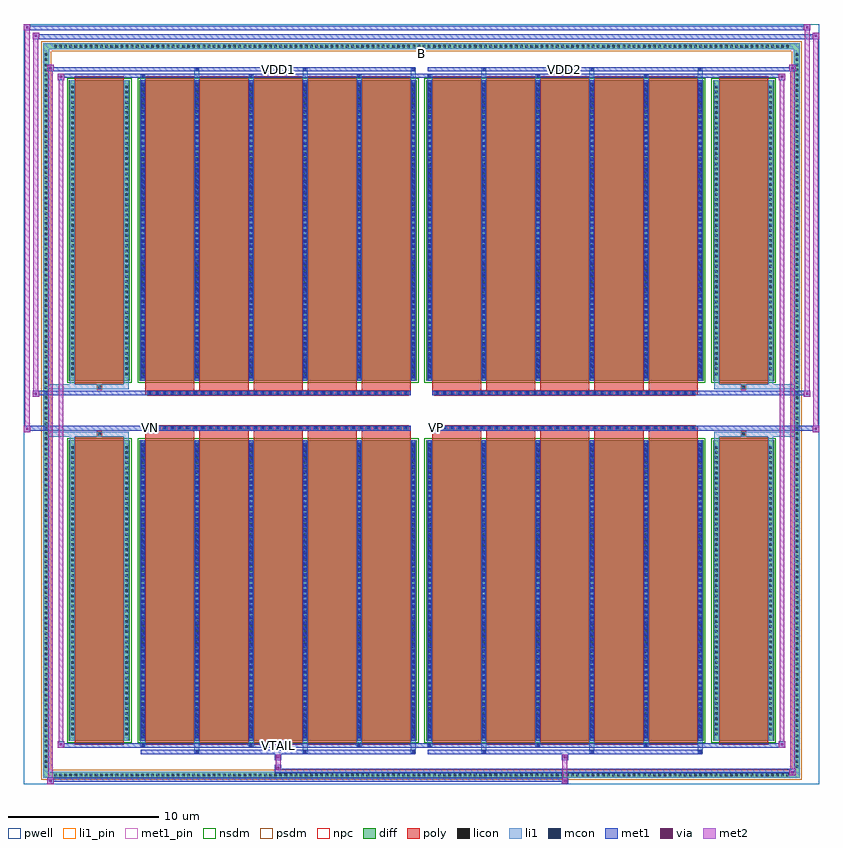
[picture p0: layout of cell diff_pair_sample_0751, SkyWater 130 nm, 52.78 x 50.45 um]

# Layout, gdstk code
import gdstk
lib = gdstk.Library(unit=1e-6, precision=5e-09)
def R(c, l, rs):  # rectangles x0, y0, x1, y1
    for r in rs: c.add(gdstk.rectangle(r[:2], r[2:], *l))
def A(c, l, x, y, w, h, nx, ny, dx, dy):  # array of equal rectangles
    R(c, l, [(x+i*dx, y+j*dy, x+i*dx+w, y+j*dy+h) for i in range(nx) for j in range(ny)])
def P(c, l, *ps):  # polygons
    for p in ps: c.add(gdstk.Polygon(p, *l))
pwell = (64, 44)
diff = (65, 20)
poly = (66, 20)
licon = (66, 44)
li1_pin = (67, 16)
li1 = (67, 20)
mcon = (67, 44)
met1_pin = (68, 16)
met1 = (68, 20)
via = (68, 44)
met2 = (69, 20)
nsdm = (93, 44)
psdm = (94, 20)
npc = (95, 20)

diff_pair_sample_0751 = lib.new_cell('diff_pair_sample_0751')
R(diff_pair_sample_0751, pwell, [(-26.39,-24.79,26.39,25.66), (-23.71,-22.98,-0.01,-0.8), (0.01,-22.98,23.71,-0.8), (-23.71,0.8,-0.01,22.98), (0.01,0.8,23.71,22.98)])
A(diff_pair_sample_0751, diff, -24.515, -24.39, 0.41, 0.41, 144, 2, 0.34, 48.37)
A(diff_pair_sample_0751, diff, -25.12, -23.835, 0.41, 0.41, 1, 140, 0, 0.34)
A(diff_pair_sample_0751, diff, 24.71, -23.835, 0.41, 0.41, 1, 140, 0, 0.34)
R(diff_pair_sample_0751, diff, [(-24.515,-24.39,24.515,-23.98), (-25.12,-23.835,-24.71,23.835), (24.71,-23.835,25.12,23.835), (-23.4,-21.935,-19.36,-1.985), (-18.72,-21.935,-0.32,-1.985), (0.32,-21.935,18.72,-1.985), (19.36,-21.935,23.4,-1.985), (-23.4,1.985,-19.36,21.935), (-18.72,1.985,-0.32,21.935), (0.32,1.985,18.72,21.935), (19.36,1.985,23.4,21.935), (-24.515,23.98,24.515,24.39)])
P(diff_pair_sample_0751, diff, [(25.12,24.39),(-25.12,24.39),(-25.12,-23.98),(-24.71,-23.98),(-24.71,23.98),(24.71,23.98),(24.71,-23.98),(-24.71,-23.98),(-25.12,-23.98),(-25.12,-24.39),(25.12,-24.39)])
A(diff_pair_sample_0751, poly, -18.33, -22.185, 3.26, 20.45, 5, 2, 3.59, 23.92)
A(diff_pair_sample_0751, poly, 0.71, -22.185, 3.26, 20.45, 5, 2, 3.59, 23.92)
A(diff_pair_sample_0751, poly, -18.33, -1.735, 3.26, 0.405, 5, 2, 3.59, 3.065)
A(diff_pair_sample_0751, poly, 0.71, -1.735, 3.26, 0.405, 5, 2, 3.59, 3.065)
A(diff_pair_sample_0751, poly, -18.185, -1.33, 0.33, 0.33, 35, 2, 0.5, 2.33)
A(diff_pair_sample_0751, poly, 0.855, -1.33, 0.33, 0.33, 35, 2, 0.5, 2.33)
R(diff_pair_sample_0751, poly, [(-23.01,-22.185,-19.75,-1.735), (19.75,-22.185,23.01,-1.735), (-21.545,-1.735,-21.215,-1.405), (-21.545,-1.735,-21.215,-1.405), (21.215,-1.735,21.545,-1.405), (21.215,-1.735,21.545,-1.405), (-18.33,-1.33,-0.71,-1), (0.71,-1.33,18.33,-1), (-18.33,1,-0.71,1.33), (0.71,1,18.33,1.33), (-21.545,1.405,-21.215,1.735), (-21.545,1.405,-21.215,1.735), (21.215,1.405,21.545,1.735), (21.215,1.405,21.545,1.735), (-23.01,1.735,-19.75,22.185), (19.75,1.735,23.01,22.185)])
A(diff_pair_sample_0751, licon, -24.395, -24.27, 0.17, 0.17, 144, 2, 0.34, 48.37)
A(diff_pair_sample_0751, licon, -25, -23.715, 0.17, 0.17, 1, 140, 0, 0.34)
A(diff_pair_sample_0751, licon, 24.83, -23.715, 0.17, 0.17, 1, 140, 0, 0.34)
A(diff_pair_sample_0751, licon, -23.26, -21.565, 0.17, 0.17, 1, 57, 0, 0.34)
A(diff_pair_sample_0751, licon, -19.67, -21.565, 0.17, 0.17, 1, 57, 0, 0.34)
A(diff_pair_sample_0751, licon, -18.58, -21.565, 0.17, 0.17, 6, 57, 3.59, 0.34)
A(diff_pair_sample_0751, licon, 0.46, -21.565, 0.17, 0.17, 6, 57, 3.59, 0.34)
A(diff_pair_sample_0751, licon, 19.5, -21.565, 0.17, 0.17, 1, 57, 0, 0.34)
A(diff_pair_sample_0751, licon, 23.09, -21.565, 0.17, 0.17, 1, 57, 0, 0.34)
A(diff_pair_sample_0751, licon, -18.105, -1.25, 0.17, 0.17, 35, 2, 0.5, 2.33)
A(diff_pair_sample_0751, licon, 0.935, -1.25, 0.17, 0.17, 35, 2, 0.5, 2.33)
A(diff_pair_sample_0751, licon, -23.26, 2.355, 0.17, 0.17, 1, 57, 0, 0.34)
A(diff_pair_sample_0751, licon, -19.67, 2.355, 0.17, 0.17, 1, 57, 0, 0.34)
A(diff_pair_sample_0751, licon, -18.58, 2.355, 0.17, 0.17, 6, 57, 3.59, 0.34)
A(diff_pair_sample_0751, licon, 0.46, 2.355, 0.17, 0.17, 6, 57, 3.59, 0.34)
A(diff_pair_sample_0751, licon, 19.5, 2.355, 0.17, 0.17, 1, 57, 0, 0.34)
A(diff_pair_sample_0751, licon, 23.09, 2.355, 0.17, 0.17, 1, 57, 0, 0.34)
R(diff_pair_sample_0751, licon, [(-21.465,-1.655,-21.295,-1.485), (21.295,-1.655,21.465,-1.485), (-21.465,1.485,-21.295,1.655), (21.295,1.485,21.465,1.655)])
R(diff_pair_sample_0751, li1_pin, [(-0.25,23.48,0.25,23.98)])
A(diff_pair_sample_0751, li1, -24.475, -24.35, 0.33, 0.33, 144, 2, 0.34, 48.37)
A(diff_pair_sample_0751, li1, -25.08, -23.795, 0.33, 0.33, 1, 140, 0, 0.34)
A(diff_pair_sample_0751, li1, 24.75, -23.795, 0.33, 0.33, 1, 140, 0, 0.34)
A(diff_pair_sample_0751, li1, -15.07, -22.74, 0.33, 0.805, 3, 2, 7.18, 44.675)
A(diff_pair_sample_0751, li1, -14.99, -22.74, 0.17, 0.17, 3, 2, 7.18, 45.31)
A(diff_pair_sample_0751, li1, 3.97, -22.74, 0.33, 0.805, 3, 2, 7.18, 44.675)
A(diff_pair_sample_0751, li1, 4.05, -22.74, 0.17, 0.17, 3, 2, 7.18, 45.31)
A(diff_pair_sample_0751, li1, -18.66, -22.31, 0.33, 0.375, 3, 2, 7.18, 44.245)
A(diff_pair_sample_0751, li1, -18.58, -22.31, 0.17, 0.17, 3, 2, 7.18, 44.45)
A(diff_pair_sample_0751, li1, 0.38, -22.31, 0.33, 0.375, 3, 2, 7.18, 44.245)
A(diff_pair_sample_0751, li1, 0.46, -22.31, 0.17, 0.17, 3, 2, 7.18, 44.45)
A(diff_pair_sample_0751, li1, -18.66, -21.935, 0.33, 19.95, 6, 2, 3.59, 23.92)
A(diff_pair_sample_0751, li1, 0.38, -21.935, 0.33, 19.95, 6, 2, 3.59, 23.92)
A(diff_pair_sample_0751, li1, -18.58, -21.765, 0.17, 0.17, 6, 55, 3.59, 0.36)
A(diff_pair_sample_0751, li1, -18.58, -21.765, 0.17, 19.61, 6, 2, 3.59, 23.92)
A(diff_pair_sample_0751, li1, 0.46, -21.765, 0.17, 0.17, 6, 55, 3.59, 0.36)
A(diff_pair_sample_0751, li1, 0.46, -21.765, 0.17, 19.61, 6, 2, 3.59, 23.92)
A(diff_pair_sample_0751, li1, -23.34, -21.645, 0.33, 0.33, 1, 57, 0, 0.34)
A(diff_pair_sample_0751, li1, -19.75, -21.645, 0.33, 0.33, 1, 57, 0, 0.34)
A(diff_pair_sample_0751, li1, -18.66, -21.645, 0.33, 0.33, 6, 57, 3.59, 0.34)
A(diff_pair_sample_0751, li1, 0.38, -21.645, 0.33, 0.33, 6, 57, 3.59, 0.34)
A(diff_pair_sample_0751, li1, 19.42, -21.645, 0.33, 0.33, 1, 57, 0, 0.34)
A(diff_pair_sample_0751, li1, 23.01, -21.645, 0.33, 0.33, 1, 57, 0, 0.34)
A(diff_pair_sample_0751, li1, -18.185, -1.33, 0.33, 0.33, 35, 2, 0.5, 2.33)
A(diff_pair_sample_0751, li1, 0.855, -1.33, 0.33, 0.33, 35, 2, 0.5, 2.33)
A(diff_pair_sample_0751, li1, -18.58, 2.155, 0.17, 0.17, 6, 55, 3.59, 0.36)
A(diff_pair_sample_0751, li1, 0.46, 2.155, 0.17, 0.17, 6, 55, 3.59, 0.36)
A(diff_pair_sample_0751, li1, -23.34, 2.275, 0.33, 0.33, 1, 57, 0, 0.34)
A(diff_pair_sample_0751, li1, -19.75, 2.275, 0.33, 0.33, 1, 57, 0, 0.34)
A(diff_pair_sample_0751, li1, -18.66, 2.275, 0.33, 0.33, 6, 57, 3.59, 0.34)
A(diff_pair_sample_0751, li1, 0.38, 2.275, 0.33, 0.33, 6, 57, 3.59, 0.34)
A(diff_pair_sample_0751, li1, 19.42, 2.275, 0.33, 0.33, 1, 57, 0, 0.34)
A(diff_pair_sample_0751, li1, 23.01, 2.275, 0.33, 0.33, 1, 57, 0, 0.34)
R(diff_pair_sample_0751, li1, [(-25.12,-24.39,-24.71,-23.98), (-25.12,-24.39,-24.71,-23.98), (-24.71,-24.39,24.71,-23.98), (24.71,-24.39,25.12,-23.98), (24.71,-24.39,25.12,-23.98), (-25.12,-23.98,-24.71,23.98), (24.71,-23.98,25.12,23.98), (-23.34,-21.935,-23.01,-1.985), (-19.75,-21.935,-19.42,-1.985), (19.42,-21.935,19.75,-1.985), (23.01,-21.935,23.34,-1.985), (-23.34,-1.985,-23.01,-1.405), (-19.75,-1.985,-19.42,-1.405), (19.42,-1.985,19.75,-1.405), (23.01,-1.985,23.34,-1.405), (-25.12,-1.735,-21.545,-1.405), (-23.34,-1.735,-21.545,-1.405), (-21.545,-1.735,-21.215,-1.405), (-21.215,-1.735,-19.42,-1.405), (19.42,-1.735,21.215,-1.405), (21.215,-1.735,21.545,-1.405), (21.215,-1.735,25.12,-1.405), (21.545,-1.735,23.34,-1.405), (-25.12,1.405,-21.545,1.735), (-23.34,1.405,-21.545,1.735), (-23.34,1.405,-23.01,1.985), (-21.545,1.405,-21.215,1.735), (-21.215,1.405,-19.42,1.735), (-19.75,1.405,-19.42,1.985), (19.42,1.405,21.215,1.735), (19.42,1.405,19.75,1.985), (21.215,1.405,21.545,1.735), (21.215,1.405,25.12,1.735), (21.545,1.405,23.34,1.735), (23.01,1.405,23.34,1.985), (-23.34,1.985,-23.01,21.935), (-19.75,1.985,-19.42,21.935), (19.42,1.985,19.75,21.935), (23.01,1.985,23.34,21.935), (-25.12,23.98,-24.71,24.39), (-25.12,23.98,-24.71,24.39), (-24.71,23.98,24.71,24.39), (24.71,23.98,25.12,24.39), (24.71,23.98,25.12,24.39)])
A(diff_pair_sample_0751, mcon, -14.99, -22.74, 0.17, 0.17, 3, 2, 7.18, 45.31)
A(diff_pair_sample_0751, mcon, 4.05, -22.74, 0.17, 0.17, 3, 2, 7.18, 45.31)
A(diff_pair_sample_0751, mcon, -18.58, -22.31, 0.17, 0.17, 3, 2, 7.18, 44.45)
A(diff_pair_sample_0751, mcon, 0.46, -22.31, 0.17, 0.17, 3, 2, 7.18, 44.45)
A(diff_pair_sample_0751, mcon, -18.58, -21.765, 0.17, 0.17, 6, 55, 3.59, 0.36)
A(diff_pair_sample_0751, mcon, 0.46, -21.765, 0.17, 0.17, 6, 55, 3.59, 0.36)
A(diff_pair_sample_0751, mcon, -18.105, -1.25, 0.17, 0.17, 35, 2, 0.5, 2.33)
A(diff_pair_sample_0751, mcon, 0.935, -1.25, 0.17, 0.17, 35, 2, 0.5, 2.33)
A(diff_pair_sample_0751, mcon, -18.58, 2.155, 0.17, 0.17, 6, 55, 3.59, 0.36)
A(diff_pair_sample_0751, mcon, 0.46, 2.155, 0.17, 0.17, 6, 55, 3.59, 0.36)
R(diff_pair_sample_0751, met1_pin, [(-9.655,-22.35,-9.385,-22.08), (-18.155,-1.29,-17.885,-1.02), (0.885,-1.29,1.155,-1.02), (-9.655,22.53,-9.385,22.8), (9.385,22.53,9.655,22.8)])
A(diff_pair_sample_0751, met1, -15.05, -22.8, 0.29, 0.29, 3, 2, 7.18, 45.31)
A(diff_pair_sample_0751, met1, 3.99, -22.8, 0.29, 0.29, 3, 2, 7.18, 45.31)
A(diff_pair_sample_0751, met1, -18.64, -22.37, 0.29, 0.29, 3, 2, 7.18, 44.45)
A(diff_pair_sample_0751, met1, 0.4, -22.37, 0.29, 0.29, 3, 2, 7.18, 44.45)
A(diff_pair_sample_0751, met1, -18.64, -21.935, 0.29, 19.95, 6, 2, 3.59, 23.92)
A(diff_pair_sample_0751, met1, 0.4, -21.935, 0.29, 19.95, 6, 2, 3.59, 23.92)
A(diff_pair_sample_0751, met1, -18.64, -21.825, 0.29, 0.29, 6, 55, 3.59, 0.36)
A(diff_pair_sample_0751, met1, 0.4, -21.825, 0.29, 0.29, 6, 55, 3.59, 0.36)
A(diff_pair_sample_0751, met1, -18.165, -1.31, 0.29, 0.29, 35, 2, 0.5, 2.33)
A(diff_pair_sample_0751, met1, 0.875, -1.31, 0.29, 0.29, 35, 2, 0.5, 2.33)
A(diff_pair_sample_0751, met1, -18.64, 2.095, 0.29, 0.29, 6, 55, 3.59, 0.36)
A(diff_pair_sample_0751, met1, 0.4, 2.095, 0.29, 0.29, 6, 55, 3.59, 0.36)
R(diff_pair_sample_0751, met1, [(-24.85,-24.79,-24.42,-24.36), (9.305,-24.79,9.735,-24.36), (-24.85,-24.65,9.735,-24.36), (24.42,-24.22,24.85,-23.79), (-9.735,-24.08,24.85,-23.79), (-9.735,-23.94,-9.305,-23.51), (-9.735,-23.23,-9.305,-22.8), (9.305,-23.23,9.735,-22.8), (-18.64,-22.8,-0.4,-22.51), (0.4,-22.8,18.64,-22.51), (-24.14,-22.37,-23.71,-21.94), (-24.14,-22.37,-18.64,-22.08), (-18.64,-22.37,-0.4,-22.08), (-0.4,-22.37,0.4,-22.08), (0.4,-22.37,18.64,-22.08), (18.64,-22.37,24.14,-22.08), (23.71,-22.37,24.14,-21.94), (-26.39,-1.43,-25.96,-1), (25.96,-1.43,26.39,-1), (-26.39,-1.33,-0.71,-1), (-18.33,-1.33,-0.71,-1), (0.71,-1.33,18.33,-1), (0.71,-1.33,26.39,-1), (-25.82,0.9,-25.39,1.33), (25.39,0.9,25.82,1.33), (-25.82,1,-18.33,1.33), (-18.33,1,-0.71,1.33), (0.71,1,18.33,1.33), (18.33,1,25.82,1.33), (-24.14,21.94,-23.71,22.37), (23.71,21.94,24.14,22.37), (-24.14,22.08,-18.64,22.37), (-18.64,22.08,-0.4,22.37), (-0.4,22.08,0.4,22.37), (0.4,22.08,18.64,22.37), (18.64,22.08,24.14,22.37), (-24.85,22.51,-24.42,22.94), (-24.85,22.51,-18.64,22.8), (-18.64,22.51,-0.4,22.8), (0.4,22.51,18.64,22.8), (18.64,22.51,24.85,22.8), (24.42,22.51,24.85,22.94), (-25.82,24.66,-25.39,25.09), (-25.82,24.66,-23.71,24.99), (-23.71,24.66,23.71,24.99), (23.71,24.66,26.39,24.99), (25.96,24.66,26.39,25.09), (-26.39,25.23,-25.96,25.66), (-26.39,25.23,-23.71,25.56), (-23.71,25.23,23.71,25.56), (23.71,25.23,25.82,25.56), (25.39,25.23,25.82,25.66)])
R(diff_pair_sample_0751, via, [(-24.71,-24.65,-24.56,-24.5), (9.445,-24.65,9.595,-24.5), (24.56,-24.08,24.71,-23.93), (-9.595,-23.8,-9.445,-23.65), (-9.595,-23.09,-9.445,-22.94), (9.445,-23.09,9.595,-22.94), (-24,-22.23,-23.85,-22.08), (23.85,-22.23,24,-22.08), (-26.25,-1.29,-26.1,-1.14), (26.1,-1.29,26.25,-1.14), (-25.68,1.04,-25.53,1.19), (25.53,1.04,25.68,1.19), (-24,22.08,-23.85,22.23), (23.85,22.08,24,22.23), (-24.71,22.65,-24.56,22.8), (24.56,22.65,24.71,22.8), (-25.68,24.8,-25.53,24.95), (26.1,24.8,26.25,24.95), (-26.25,25.37,-26.1,25.52), (25.53,25.37,25.68,25.52)])
R(diff_pair_sample_0751, met2, [(-24.85,-24.79,-24.42,-24.36), (-24.78,-24.79,-24.49,22.94), (-24.49,-24.79,-24.42,-24.36), (-24.8,-24.74,-24.47,-24.41), (9.355,-24.74,9.685,-24.41), (9.355,-24.41,9.685,-23.18), (24.42,-24.22,24.85,-23.79), (24.49,-24.22,24.78,22.94), (24.78,-24.22,24.85,-23.79), (24.47,-24.17,24.8,-23.84), (-9.685,-23.89,-9.355,-23.56), (-9.685,-23.56,-9.355,-23.18), (-9.685,-23.18,-9.355,-22.85), (9.355,-23.18,9.685,-22.85), (-24.14,-22.37,-23.71,-21.94), (-24.07,-22.37,-23.78,22.37), (-23.78,-22.37,-23.71,-21.94), (23.71,-22.37,24.14,-21.94), (23.78,-22.37,24.07,22.37), (24.07,-22.37,24.14,-21.94), (-24.09,-22.32,-23.76,-21.99), (23.76,-22.32,24.09,-21.99), (-26.39,-1.43,-25.96,-1), (-26.34,-1.43,-26.01,25.66), (-26.01,-1.43,-25.96,-1), (25.96,-1.43,26.39,-1), (26.01,-1.43,26.34,25.09), (26.34,-1.43,26.39,-1), (-26.34,-1.38,-26.01,-1.05), (26.01,-1.38,26.34,-1.05), (-25.82,0.9,-25.39,1.33), (-25.77,0.9,-25.44,25.09), (-25.44,0.9,-25.39,1.33), (25.39,0.9,25.82,1.33), (25.44,0.9,25.77,25.66), (25.77,0.9,25.82,1.33), (-25.77,0.95,-25.44,1.28), (25.44,0.95,25.77,1.28), (-24.14,21.94,-23.71,22.37), (-23.78,21.94,-23.71,22.37), (23.71,21.94,24.14,22.37), (24.07,21.94,24.14,22.37), (-24.09,21.99,-23.76,22.32), (23.76,21.99,24.09,22.32), (-24.85,22.51,-24.42,22.94), (-24.49,22.51,-24.42,22.94), (24.42,22.51,24.85,22.94), (24.78,22.51,24.85,22.94), (-24.8,22.56,-24.47,22.89), (24.47,22.56,24.8,22.89), (-25.82,24.66,-25.39,25.09), (-25.44,24.66,-25.39,25.09), (25.96,24.66,26.39,25.09), (26.34,24.66,26.39,25.09), (-25.77,24.71,-25.44,25.04), (26.01,24.71,26.34,25.04), (-26.39,25.23,-25.96,25.66), (-26.01,25.23,-25.96,25.66), (25.39,25.23,25.82,25.66), (25.77,25.23,25.82,25.66), (-26.34,25.28,-26.01,25.61), (25.44,25.28,25.77,25.61)])
R(diff_pair_sample_0751, nsdm, [(-23.53,-22.065,-19.23,-1.855), (-18.85,-22.065,-0.19,-1.855), (0.19,-22.065,18.85,-1.855), (19.23,-22.065,23.53,-1.855), (-23.53,1.855,-19.23,22.065), (-18.85,1.855,-0.19,22.065), (0.19,1.855,18.85,22.065), (19.23,1.855,23.53,22.065)])
P(diff_pair_sample_0751, psdm, [(25.25,24.52),(-25.25,24.52),(-25.25,-23.85),(-24.58,-23.85),(-24.58,23.85),(24.58,23.85),(24.58,-23.85),(-24.58,-23.85),(-25.25,-23.85),(-25.25,-24.52),(25.25,-24.52)])
A(diff_pair_sample_0751, npc, -18.205, -1.35, 0.37, 0.37, 35, 2, 0.5, 2.33)
A(diff_pair_sample_0751, npc, 0.835, -1.35, 0.37, 0.37, 35, 2, 0.5, 2.33)
R(diff_pair_sample_0751, npc, [(-21.565,-1.755,-21.195,-1.385), (21.195,-1.755,21.565,-1.385), (-18.205,-1.35,-17.335,-0.98), (-18.205,-1.35,-17.335,-0.98), (-17.705,-1.35,-16.835,-0.98), (-17.705,-1.35,-16.835,-0.98), (-17.205,-1.35,-16.335,-0.98), (-17.205,-1.35,-16.335,-0.98), (-16.705,-1.35,-15.835,-0.98), (-16.705,-1.35,-15.835,-0.98), (-16.205,-1.35,-15.335,-0.98), (-16.205,-1.35,-15.335,-0.98), (-15.705,-1.35,-14.835,-0.98), (-15.705,-1.35,-14.835,-0.98), (-15.205,-1.35,-14.335,-0.98), (-15.205,-1.35,-14.335,-0.98), (-14.705,-1.35,-13.835,-0.98), (-14.705,-1.35,-13.835,-0.98), (-14.205,-1.35,-13.335,-0.98), (-14.205,-1.35,-13.335,-0.98), (-13.705,-1.35,-12.835,-0.98), (-13.705,-1.35,-12.835,-0.98), (-13.205,-1.35,-12.335,-0.98), (-13.205,-1.35,-12.335,-0.98), (-12.705,-1.35,-11.835,-0.98), (-12.705,-1.35,-11.835,-0.98), (-12.205,-1.35,-11.335,-0.98), (-12.205,-1.35,-11.335,-0.98), (-11.705,-1.35,-10.835,-0.98), (-11.705,-1.35,-10.835,-0.98), (-11.205,-1.35,-10.335,-0.98), (-11.205,-1.35,-10.335,-0.98), (-10.705,-1.35,-9.835,-0.98), (-10.705,-1.35,-9.835,-0.98), (-10.205,-1.35,-9.335,-0.98), (-10.205,-1.35,-9.335,-0.98), (-9.705,-1.35,-8.835,-0.98), (-9.705,-1.35,-8.835,-0.98), (-9.205,-1.35,-8.335,-0.98), (-9.205,-1.35,-8.335,-0.98), (-8.705,-1.35,-7.835,-0.98), (-8.705,-1.35,-7.835,-0.98), (-8.205,-1.35,-7.335,-0.98), (-8.205,-1.35,-7.335,-0.98), (-7.705,-1.35,-6.835,-0.98), (-7.705,-1.35,-6.835,-0.98), (-7.205,-1.35,-6.335,-0.98), (-7.205,-1.35,-6.335,-0.98), (-6.705,-1.35,-5.835,-0.98), (-6.705,-1.35,-5.835,-0.98), (-6.205,-1.35,-5.335,-0.98), (-6.205,-1.35,-5.335,-0.98), (-5.705,-1.35,-4.835,-0.98), (-5.705,-1.35,-4.835,-0.98), (-5.205,-1.35,-4.335,-0.98), (-5.205,-1.35,-4.335,-0.98), (-4.705,-1.35,-3.835,-0.98), (-4.705,-1.35,-3.835,-0.98), (-4.205,-1.35,-3.335,-0.98), (-4.205,-1.35,-3.335,-0.98), (-3.705,-1.35,-2.835,-0.98), (-3.705,-1.35,-2.835,-0.98), (-3.205,-1.35,-2.335,-0.98), (-3.205,-1.35,-2.335,-0.98), (-2.705,-1.35,-1.835,-0.98), (-2.705,-1.35,-1.835,-0.98), (-2.205,-1.35,-1.335,-0.98), (-2.205,-1.35,-1.335,-0.98), (-1.705,-1.35,-0.835,-0.98), (-1.705,-1.35,-0.835,-0.98), (0.835,-1.35,1.705,-0.98), (0.835,-1.35,1.705,-0.98), (1.335,-1.35,2.205,-0.98), (1.335,-1.35,2.205,-0.98), (1.835,-1.35,2.705,-0.98), (1.835,-1.35,2.705,-0.98), (2.335,-1.35,3.205,-0.98), (2.335,-1.35,3.205,-0.98), (2.835,-1.35,3.705,-0.98), (2.835,-1.35,3.705,-0.98), (3.335,-1.35,4.205,-0.98), (3.335,-1.35,4.205,-0.98), (3.835,-1.35,4.705,-0.98), (3.835,-1.35,4.705,-0.98), (4.335,-1.35,5.205,-0.98), (4.335,-1.35,5.205,-0.98), (4.835,-1.35,5.705,-0.98), (4.835,-1.35,5.705,-0.98), (5.335,-1.35,6.205,-0.98), (5.335,-1.35,6.205,-0.98), (5.835,-1.35,6.705,-0.98), (5.835,-1.35,6.705,-0.98), (6.335,-1.35,7.205,-0.98), (6.335,-1.35,7.205,-0.98), (6.835,-1.35,7.705,-0.98), (6.835,-1.35,7.705,-0.98), (7.335,-1.35,8.205,-0.98), (7.335,-1.35,8.205,-0.98), (7.835,-1.35,8.705,-0.98), (7.835,-1.35,8.705,-0.98), (8.335,-1.35,9.205,-0.98), (8.335,-1.35,9.205,-0.98), (8.835,-1.35,9.705,-0.98), (8.835,-1.35,9.705,-0.98), (9.335,-1.35,10.205,-0.98), (9.335,-1.35,10.205,-0.98), (9.835,-1.35,10.705,-0.98), (9.835,-1.35,10.705,-0.98), (10.335,-1.35,11.205,-0.98), (10.335,-1.35,11.205,-0.98), (10.835,-1.35,11.705,-0.98), (10.835,-1.35,11.705,-0.98), (11.335,-1.35,12.205,-0.98), (11.335,-1.35,12.205,-0.98), (11.835,-1.35,12.705,-0.98), (11.835,-1.35,12.705,-0.98), (12.335,-1.35,13.205,-0.98), (12.335,-1.35,13.205,-0.98), (12.835,-1.35,13.705,-0.98), (12.835,-1.35,13.705,-0.98), (13.335,-1.35,14.205,-0.98), (13.335,-1.35,14.205,-0.98), (13.835,-1.35,14.705,-0.98), (13.835,-1.35,14.705,-0.98), (14.335,-1.35,15.205,-0.98), (14.335,-1.35,15.205,-0.98), (14.835,-1.35,15.705,-0.98), (14.835,-1.35,15.705,-0.98), (15.335,-1.35,16.205,-0.98), (15.335,-1.35,16.205,-0.98), (15.835,-1.35,16.705,-0.98), (15.835,-1.35,16.705,-0.98), (16.335,-1.35,17.205,-0.98), (16.335,-1.35,17.205,-0.98), (16.835,-1.35,17.705,-0.98), (16.835,-1.35,17.705,-0.98), (17.335,-1.35,18.205,-0.98), (17.335,-1.35,18.205,-0.98), (-18.205,0.98,-17.335,1.35), (-18.205,0.98,-17.335,1.35), (-17.705,0.98,-16.835,1.35), (-17.705,0.98,-16.835,1.35), (-17.205,0.98,-16.335,1.35), (-17.205,0.98,-16.335,1.35), (-16.705,0.98,-15.835,1.35), (-16.705,0.98,-15.835,1.35), (-16.205,0.98,-15.335,1.35), (-16.205,0.98,-15.335,1.35), (-15.705,0.98,-14.835,1.35), (-15.705,0.98,-14.835,1.35), (-15.205,0.98,-14.335,1.35), (-15.205,0.98,-14.335,1.35), (-14.705,0.98,-13.835,1.35), (-14.705,0.98,-13.835,1.35), (-14.205,0.98,-13.335,1.35), (-14.205,0.98,-13.335,1.35), (-13.705,0.98,-12.835,1.35), (-13.705,0.98,-12.835,1.35), (-13.205,0.98,-12.335,1.35), (-13.205,0.98,-12.335,1.35), (-12.705,0.98,-11.835,1.35), (-12.705,0.98,-11.835,1.35), (-12.205,0.98,-11.335,1.35), (-12.205,0.98,-11.335,1.35), (-11.705,0.98,-10.835,1.35), (-11.705,0.98,-10.835,1.35), (-11.205,0.98,-10.335,1.35), (-11.205,0.98,-10.335,1.35), (-10.705,0.98,-9.835,1.35), (-10.705,0.98,-9.835,1.35), (-10.205,0.98,-9.335,1.35), (-10.205,0.98,-9.335,1.35), (-9.705,0.98,-8.835,1.35), (-9.705,0.98,-8.835,1.35), (-9.205,0.98,-8.335,1.35), (-9.205,0.98,-8.335,1.35), (-8.705,0.98,-7.835,1.35), (-8.705,0.98,-7.835,1.35), (-8.205,0.98,-7.335,1.35), (-8.205,0.98,-7.335,1.35), (-7.705,0.98,-6.835,1.35), (-7.705,0.98,-6.835,1.35), (-7.205,0.98,-6.335,1.35), (-7.205,0.98,-6.335,1.35), (-6.705,0.98,-5.835,1.35), (-6.705,0.98,-5.835,1.35), (-6.205,0.98,-5.335,1.35), (-6.205,0.98,-5.335,1.35), (-5.705,0.98,-4.835,1.35), (-5.705,0.98,-4.835,1.35), (-5.205,0.98,-4.335,1.35), (-5.205,0.98,-4.335,1.35), (-4.705,0.98,-3.835,1.35), (-4.705,0.98,-3.835,1.35), (-4.205,0.98,-3.335,1.35), (-4.205,0.98,-3.335,1.35), (-3.705,0.98,-2.835,1.35), (-3.705,0.98,-2.835,1.35), (-3.205,0.98,-2.335,1.35), (-3.205,0.98,-2.335,1.35), (-2.705,0.98,-1.835,1.35), (-2.705,0.98,-1.835,1.35), (-2.205,0.98,-1.335,1.35), (-2.205,0.98,-1.335,1.35), (-1.705,0.98,-0.835,1.35), (-1.705,0.98,-0.835,1.35), (0.835,0.98,1.705,1.35), (0.835,0.98,1.705,1.35), (1.335,0.98,2.205,1.35), (1.335,0.98,2.205,1.35), (1.835,0.98,2.705,1.35), (1.835,0.98,2.705,1.35), (2.335,0.98,3.205,1.35), (2.335,0.98,3.205,1.35), (2.835,0.98,3.705,1.35), (2.835,0.98,3.705,1.35), (3.335,0.98,4.205,1.35), (3.335,0.98,4.205,1.35), (3.835,0.98,4.705,1.35), (3.835,0.98,4.705,1.35), (4.335,0.98,5.205,1.35), (4.335,0.98,5.205,1.35), (4.835,0.98,5.705,1.35), (4.835,0.98,5.705,1.35), (5.335,0.98,6.205,1.35), (5.335,0.98,6.205,1.35), (5.835,0.98,6.705,1.35), (5.835,0.98,6.705,1.35), (6.335,0.98,7.205,1.35), (6.335,0.98,7.205,1.35), (6.835,0.98,7.705,1.35), (6.835,0.98,7.705,1.35), (7.335,0.98,8.205,1.35), (7.335,0.98,8.205,1.35), (7.835,0.98,8.705,1.35), (7.835,0.98,8.705,1.35), (8.335,0.98,9.205,1.35), (8.335,0.98,9.205,1.35), (8.835,0.98,9.705,1.35), (8.835,0.98,9.705,1.35), (9.335,0.98,10.205,1.35), (9.335,0.98,10.205,1.35), (9.835,0.98,10.705,1.35), (9.835,0.98,10.705,1.35), (10.335,0.98,11.205,1.35), (10.335,0.98,11.205,1.35), (10.835,0.98,11.705,1.35), (10.835,0.98,11.705,1.35), (11.335,0.98,12.205,1.35), (11.335,0.98,12.205,1.35), (11.835,0.98,12.705,1.35), (11.835,0.98,12.705,1.35), (12.335,0.98,13.205,1.35), (12.335,0.98,13.205,1.35), (12.835,0.98,13.705,1.35), (12.835,0.98,13.705,1.35), (13.335,0.98,14.205,1.35), (13.335,0.98,14.205,1.35), (13.835,0.98,14.705,1.35), (13.835,0.98,14.705,1.35), (14.335,0.98,15.205,1.35), (14.335,0.98,15.205,1.35), (14.835,0.98,15.705,1.35), (14.835,0.98,15.705,1.35), (15.335,0.98,16.205,1.35), (15.335,0.98,16.205,1.35), (15.835,0.98,16.705,1.35), (15.835,0.98,16.705,1.35), (16.335,0.98,17.205,1.35), (16.335,0.98,17.205,1.35), (16.835,0.98,17.705,1.35), (16.835,0.98,17.705,1.35), (17.335,0.98,18.205,1.35), (17.335,0.98,18.205,1.35), (-21.565,1.385,-21.195,1.755), (21.195,1.385,21.565,1.755)])
diff_pair_sample_0751.add(gdstk.Label('VTAIL', (-9.52,-22.215), layer=68, texttype=5))
diff_pair_sample_0751.add(gdstk.Label('VN', (-18.02,-1.155), layer=68, texttype=5))
diff_pair_sample_0751.add(gdstk.Label('VP', (1.02,-1.155), layer=68, texttype=5))
diff_pair_sample_0751.add(gdstk.Label('B', (0,23.73), layer=67, texttype=5))
diff_pair_sample_0751.add(gdstk.Label('VDD2', (9.52,22.665), layer=68, texttype=5))
diff_pair_sample_0751.add(gdstk.Label('VDD1', (-9.52,22.665), layer=68, texttype=5))

lib.write_gds('diff_pair_sample_0751.gds')
